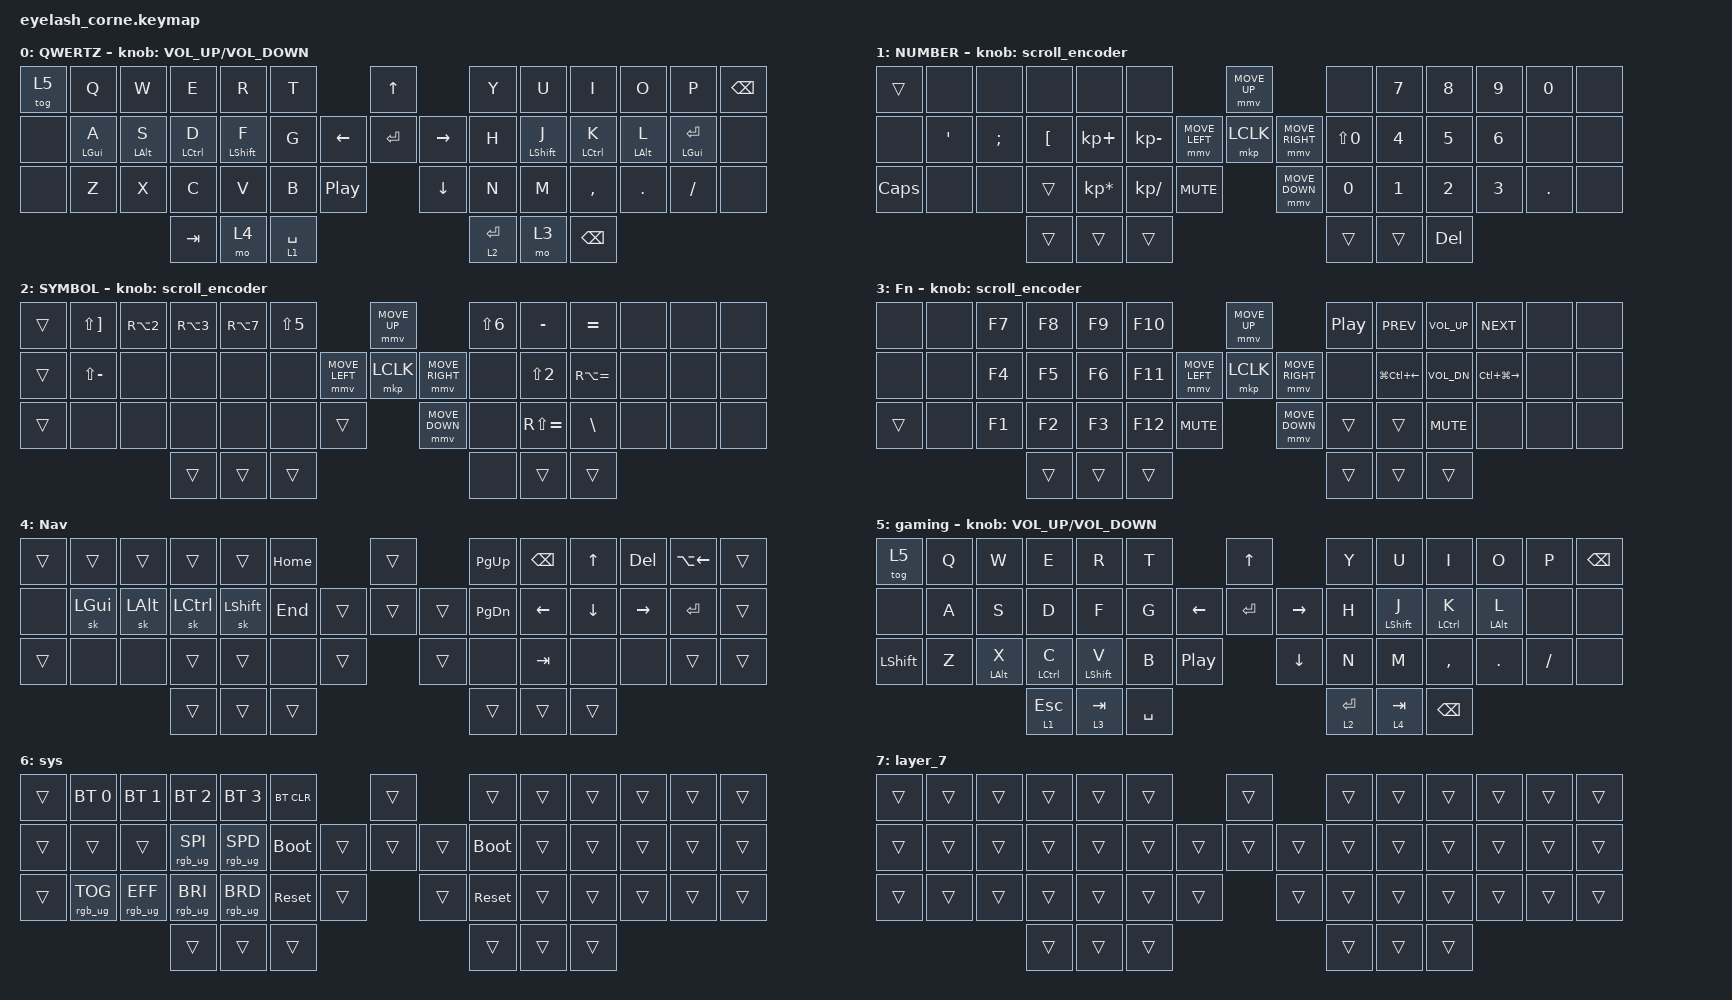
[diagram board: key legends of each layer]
#include <dt-bindings/zmk/mouse.h>
#include <input/processors.dtsi>
#include <behaviors.dtsi>
#include <dt-bindings/zmk/bt.h>
#include <dt-bindings/zmk/keys.h>
#include <dt-bindings/zmk/pointing.h>
#include <dt-bindings/zmk/rgb.h>

/*

   &mmv_input_listener {
       input-processors = <&zip_xy_scaler 2 1>;
   };

   &msc_input_listener {
       input-processors = <&zip_xy_scaler 2 1>;
   };

 */

#define ZMK_MOUSE_DEFAULT_MOVE_VAL 1200  // 600
#define ZMK_MOUSE_DEFAULT_SCRL_VAL 20    // 10

/ {
    behaviors {
        // td0: td0 {
        //     compatible = "zmk,behavior-tap-dance";
        //     display-name = "Shift/Caps Lock Tap Dance";
        //     #binding-cells = <0>;
        //     bindings = <&kp LEFT_SHIFT>, <&kp CAPS>;
        // };
        // hml: balanced_homerow_mods {
        //     flavor = "balanced";
        //     tapping-term-ms = <280>;
        //     quick-tap-ms = <175>;
        //     require-prior-idle-ms = <150>;
        //     bindings = <&kp>, <&kp>;
        //     // hold-trigger-key-positions = <KEYS_R THUMBS>;
        //     // hold-trigger-on-release;
        // };
    };

    rgb_encoder: rgb_encoder {
        compatible = "zmk,behavior-sensor-rotate";
        #sensor-binding-cells = <0>;
        bindings = <&rgb_ug RGB_BRI>, <&rgb_ug RGB_BRD>;
    };

    scroll_encoder: scroll_encoder {
        compatible = "zmk,behavior-sensor-rotate";
        #sensor-binding-cells = <0>;
        bindings = <&msc SCRL_DOWN>, <&msc SCRL_UP>;

        tap-ms = <30>;
    };

    hml: hml {
        compatible = "zmk,behavior-hold-tap";
        label = "HML";
        bindings = <&kp>, <&kp>;

        #binding-cells = <2>;
        tapping-term-ms = <280>;
        quick-tap-ms = <175>;
        require-prior-idle-ms = <150>;
        flavor = "balanced";
        hold-trigger-on-release;
    };

    leftbrackets_mm: leftbrackets_mm {
        compatible = "zmk,behavior-mod-morph";
        label = "LEFTBRACKETS_MM";
        bindings = <&kp RA(LEFT_BRACKET)>, <&kp RA(APOS)>;

        #binding-cells = <0>;
        mods = <(MOD_LSFT|MOD_RSFT)>;
    };

    rightbrackets_mm: rightbrackets_mm {
        compatible = "zmk,behavior-mod-morph";
        label = "RIGHTBRACKETS_MM";
        bindings = <&kp RA(RIGHT_BRACKET)>, <&kp RA(BACKSLASH)>;

        #binding-cells = <0>;
        mods = <(MOD_LSFT|MOD_RSFT)>;
    };

    leftpar: leftpar {
        compatible = "zmk,behavior-mod-morph";
        label = "LEFTPAR";
        bindings = <&kp LS(NUMBER_8)>, <&kp NON_US_BACKSLASH>;

        #binding-cells = <0>;
        mods = <(MOD_LSFT|MOD_RSFT)>;
    };

    rightpar: rightpar {
        compatible = "zmk,behavior-mod-morph";
        label = "RIGHTPAR";
        bindings = <&kp LS(NUMBER_9)>, <&kp LS(NON_US_BACKSLASH)>;

        #binding-cells = <0>;
        mods = <(MOD_LSFT|MOD_RSFT)>;
    };

    combos {
        compatible = "zmk,combos";

        esc {
            bindings = <&kp ESCAPE>;
            key-positions = <2 3>;
        };

        copy {
            bindings = <&kp LC(C)>;
            key-positions = <30 31>;
        };

        paste {
            bindings = <&kp LC(V)>;
            key-positions = <31 32>;
        };

        cut {
            bindings = <&kp LC(X)>;
            key-positions = <32 30>;
        };

        backspace {
            bindings = <&kp BACKSPACE>;
            key-positions = <8 9>;
        };

        del {
            bindings = <&kp DEL>;
            key-positions = <9 10>;
        };

        lpar {
            bindings = <&leftpar>;
            key-positions = <23 24>;
        };

        rpar {
            bindings = <&rightpar>;
            key-positions = <24 25>;
        };

        lbracket {
            bindings = <&leftbrackets_mm>;
            key-positions = <38 37>;
        };

        rbracket {
            bindings = <&rightbrackets_mm>;
            key-positions = <39 38>;
        };

        plus {
            bindings = <&kp KP_PLUS>;
            key-positions = <8 23>;
        };

        minus {
            bindings = <&kp KP_MINUS>;
            key-positions = <23 37>;
        };

        multiply {
            bindings = <&kp KP_MULTIPLY>;
            key-positions = <9 24>;
        };

        divide {
            bindings = <&kp KP_DIVIDE>;
            key-positions = <24 38>;
        };

        sysLayer {
            bindings = <&mo 6>;
            key-positions = <44 45>;
        };

        fslash {
            bindings = <&kp RA(NON_US_BSLH)>;
            key-positions = <10 25>;
        };

        pipe {
            bindings = <&kp RA(NUMBER_7)>;
            key-positions = <25 39>;
        };
    };

    keymap {
        compatible = "zmk,keymap";

        default_layer {
            display-name = "QWERTZ";
            bindings = <
&tog 5  &kp Q            &kp W            &kp E                &kp R              &kp T                                      &kp UP                &kp Y        &kp U              &kp I                &kp O            &kp P                &kp BSPC
&none   &hml LEFT_GUI A  &hml LEFT_ALT S  &hml LEFT_CONTROL D  &hml LEFT_SHIFT F  &kp G                            &kp LEFT  &kp ENTER  &kp RIGHT  &kp H        &hml LEFT_SHIFT J  &hml LEFT_CONTROL K  &hml LEFT_ALT L  &hml LEFT_GUI ENTER  &none
&none   &kp Z            &kp X            &kp C                &kp V              &kp B        &kp C_PLAY_PAUSE              &kp DOWN              &kp N        &kp M              &kp COMMA            &kp DOT          &kp SLASH            &none
                                          &kp TAB              &mo 4              &lt 1 SPACE                                                      &lt 2 ENTER  &mo 3              &kp BACKSPACE
            >;

            sensor-bindings = <&inc_dec_kp C_VOLUME_UP C_VOLUME_DOWN>;
        };

        lower_layer {
            display-name = "NUMBER";
            bindings = <
&trans    &none             &none     &none     &none            &none                                          &mmv MOVE_UP                     &none             &kp N7        &kp N8        &kp N9        &kp N0      &none
&none     &kp SINGLE_QUOTE  &kp SEMI  &kp LBKT  &kp KP_PLUS      &kp KP_SUBTRACT                &mmv MOVE_LEFT  &mkp LCLK       &mmv MOVE_RIGHT  &kp LS(NUMBER_0)  &kp NUMBER_4  &kp NUMBER_5  &kp NUMBER_6  &none       &none
&kp CAPS  &none             &none     &trans    &kp KP_MULTIPLY  &kp KP_SLASH     &kp C_MUTE                    &mmv MOVE_DOWN                   &kp NUMBER_0      &kp NUMBER_1  &kp NUMBER_2  &kp NUMBER_3  &kp PERIOD  &none
                                      &trans    &trans           &trans                                                                          &trans            &trans        &kp DELETE
            >;

            sensor-bindings = <&scroll_encoder>;
        };

        raise_layer {
            display-name = "SYMBOL";
            bindings = <
&trans  &kp LS(RIGHT_BRACKET)  &kp RA(NUMBER_2)  &kp RA(NUMBER_3)  &kp RA(N7)  &kp LS(N5)                            &mmv MOVE_UP                     &kp LS(NUMBER_6)  &kp MINUS         &kp EQUAL      &none  &none  &none
&trans  &kp LS(MINUS)          &none             &none             &none       &none                 &mmv MOVE_LEFT  &mkp LCLK       &mmv MOVE_RIGHT  &none             &kp LS(NUMBER_2)  &kp RA(EQUAL)  &none  &none  &none
&trans  &none                  &none             &none             &none       &none       &trans                    &mmv MOVE_DOWN                   &none             &kp RS(EQUAL)     &kp BACKSLASH  &none  &none  &none
                                                 &trans            &trans      &trans                                                                 &none             &trans            &trans
            >;

            sensor-bindings = <&scroll_encoder>;
        };

        layer_3 {
            display-name = "Fn";
            bindings = <
&none   &none  &kp F7  &kp F8  &kp F9  &kp F10                                &mmv MOVE_UP                     &kp C_PLAY_PAUSE  &kp C_PREV              &kp C_VOL_UP  &kp C_NEXT         &none  &none
&none   &none  &kp F4  &kp F5  &kp F6  &kp F11                &mmv MOVE_LEFT  &mkp LCLK       &mmv MOVE_RIGHT  &none             &kp LG(LC(LEFT_ARROW))  &kp C_VOL_DN  &kp LC(LG(RIGHT))  &none  &none
&trans  &none  &kp F1  &kp F2  &kp F3  &kp F12  &kp C_MUTE                    &mmv MOVE_DOWN                   &trans            &trans                  &kp C_MUTE    &none              &none  &none
                       &trans  &trans  &trans                                                                  &trans            &trans                  &trans
            >;

            sensor-bindings = <&scroll_encoder>;
        };

        Nav {
            display-name = "Nav";
            bindings = <
&trans  &trans        &trans        &trans            &trans          &kp HOME                    &trans          &kp PG_UP      &kp BACKSPACE   &kp UP_ARROW    &kp DELETE  &kp LA(LEFT)  &trans
&none   &sk LEFT_GUI  &sk LEFT_ALT  &sk LEFT_CONTROL  &sk LEFT_SHIFT  &kp END             &trans  &trans  &trans  &kp PAGE_DOWN  &kp LEFT_ARROW  &kp DOWN_ARROW  &kp RIGHT   &kp ENTER     &trans
&trans  &none         &none         &trans            &trans          &none     &trans            &trans          &none          &kp TAB         &none           &none       &trans        &trans
                                    &trans            &trans          &trans                                      &trans         &trans          &trans
            >;
        };

        gaming {
            display-name = "gaming";
            bindings = <
&tog 5          &kp Q  &kp W        &kp E                &kp R              &kp T                                    &kp UP                &kp Y        &kp U              &kp I                &kp O            &kp P      &kp BSPC
&none           &kp A  &kp S        &kp D                &kp F              &kp G                          &kp LEFT  &kp ENTER  &kp RIGHT  &kp H        &hml LEFT_SHIFT J  &hml LEFT_CONTROL K  &hml LEFT_ALT L  &none      &none
&kp LEFT_SHIFT  &kp Z  &hml LALT X  &hml LEFT_CONTROL C  &hml LEFT_SHIFT V  &kp B      &kp C_PLAY_PAUSE              &kp DOWN              &kp N        &kp M              &kp COMMA            &kp DOT          &kp SLASH  &none
                                    &lt 1 ESCAPE         &lt 3 TAB          &kp SPACE                                                      &lt 2 ENTER  &lt 4 TAB          &kp BACKSPACE
            >;

            sensor-bindings = <&inc_dec_kp C_VOLUME_UP C_VOLUME_DOWN>;
        };

        sys {
            bindings = <
&trans  &bt BT_SEL 0     &bt BT_SEL 1     &bt BT_SEL 2     &bt BT_SEL 3     &bt BT_CLR                     &trans          &trans       &trans  &trans  &trans  &trans  &trans
&trans  &trans           &trans           &rgb_ug RGB_SPI  &rgb_ug RGB_SPD  &bootloader            &trans  &trans  &trans  &bootloader  &trans  &trans  &trans  &trans  &trans
&trans  &rgb_ug RGB_TOG  &rgb_ug RGB_EFF  &rgb_ug RGB_BRI  &rgb_ug RGB_BRD  &sys_reset   &trans            &trans          &sys_reset   &trans  &trans  &trans  &trans  &trans
                                          &trans           &trans           &trans                                         &trans       &trans  &trans
            >;
        };

        layer_7 {
            bindings = <
&trans  &trans  &trans  &trans  &trans  &trans                    &trans          &trans  &trans  &trans  &trans  &trans  &trans
&trans  &trans  &trans  &trans  &trans  &trans            &trans  &trans  &trans  &trans  &trans  &trans  &trans  &trans  &trans
&trans  &trans  &trans  &trans  &trans  &trans  &trans            &trans          &trans  &trans  &trans  &trans  &trans  &trans
                        &trans  &trans  &trans                                    &trans  &trans  &trans
            >;
        };
    };
};
